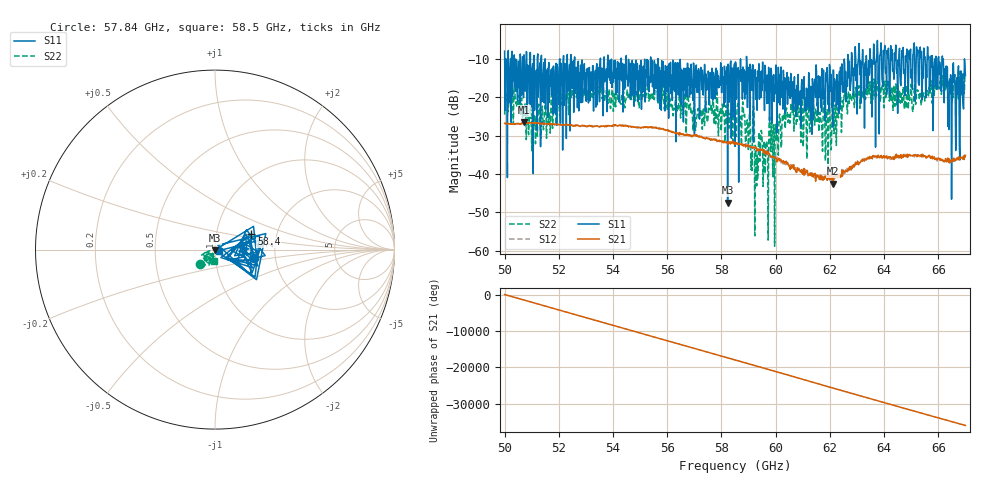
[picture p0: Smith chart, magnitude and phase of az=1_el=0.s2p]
!Created with skrf (http://scikit-rf.org).
# GHz S RI R 50.0
!freq ReS11 ImS11 ReS21 ImS21 ReS12 ImS12 ReS22 ImS22
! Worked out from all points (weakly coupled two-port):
!   1001 points, 50 GHz to 67 GHz, reference 50 ohm
!   highest |S21| = -26.58 dB at 50.71 GHz (marker M1); lowest = -42.5 dB at 62.1 GHz (marker M2)
!   lowest |S11| = -47.5 dB at 58.23 GHz (marker M3), VSWR 1.01, Z = 49.8 - j0.375 ohm
!   |S11| at or under -10 dB: 52.58 GHz to 53.53 GHz (949 MHz wide, 1.79 % of centre); 55.66 GHz to 58.7 GHz (3.042 GHz wide, 5.32 % of centre); 58.93 GHz to 62.66 GHz (3.734 GHz wide, 6.14 % of centre) (the widest 3 of 63)
!   |S22| runs from -58.9 to -13.3 dB; largest |S21 - S12| = 0.0023
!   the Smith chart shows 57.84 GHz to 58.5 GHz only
!   S11 on the Smith chart (normalised r, x): 57.84 GHz: 1.55, -0.15; 58.4 GHz: 1.48, +0.27; 58.5 GHz: 1.05, -0.01
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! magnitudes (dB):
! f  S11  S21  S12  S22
! 50 GHz  -8.0  -26.8  -26.8  -24.5
! 50.15 GHz  -21.5  -27.0  -27.0  -21.4
! 50.71 GHz  -8.9  -26.6  -26.7  -24.7
! 51.38 GHz  -21.1  -26.9  -26.9  -23.1
! 52.84 GHz  -11.9  -27.5  -27.4  -19.3
! 55.68 GHz  -13.3  -28.1  -28.1  -21.3
! 57.84 GHz  -13.1  -31.4  -31.6  -18.7
! 58.23 GHz  -47.5  -32.2  -31.9  -23.4
! 58.4 GHz  -13.2  -31.8  -31.9  -26.1
! 58.5 GHz  -32.8  -32.3  -31.7  -23.7
! 59.11 GHz  -13.0  -33.0  -32.9  -34.6
! 59.32 GHz  -23.4  -33.5  -33.5  -35.2
! 60.03 GHz  -14.4  -36.5  -36.6  -31.2
! 60.34 GHz  -14.9  -37.2  -37.4  -25.7
! 61.34 GHz  -29.7  -39.7  -40.7  -26.4
! 62.1 GHz  -27.8  -42.5  -41.6  -21.3
! 62.55 GHz  -11.3  -39.5  -39.9  -18.6
! 64.18 GHz  -11.7  -35.5  -35.9  -17.4
! 66.1 GHz  -14.1  -36.5  -36.6  -18.2
! 66.44 GHz  -19.1  -36.4  -36.5  -16.3
! 66.86 GHz  -19.1  -35.8  -35.7  -16.2
! 67 GHz  -14.4  -35.2  -35.4  -14.2
